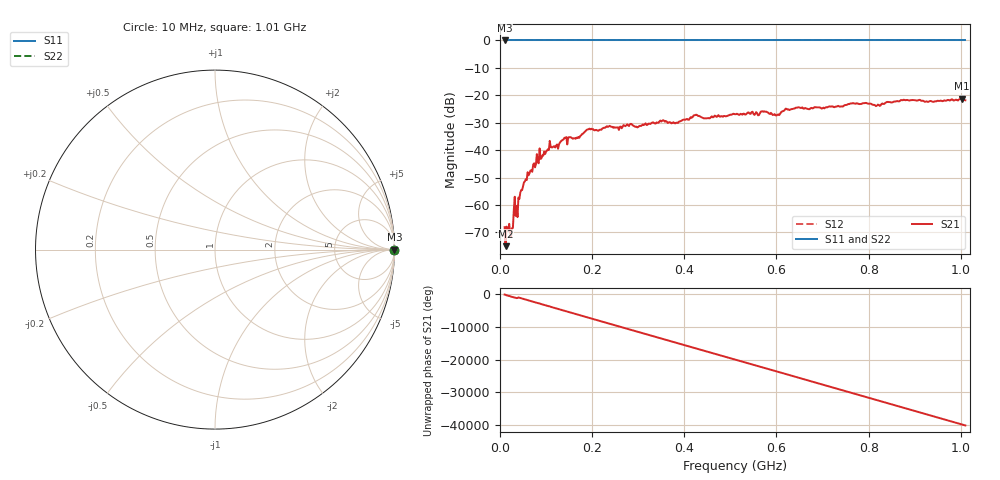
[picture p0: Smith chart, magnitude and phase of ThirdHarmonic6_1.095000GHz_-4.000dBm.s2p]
! 8/16/2025 10:13:31 AM
! C:\ANRITSUVNA\TEMP\TEMP.S2P
! CHANNEL.1
! TR.MEASUREMENT
! RAW.DATA
! RF.CORRECTION.OFF
! AVERAGING.OFF
! IF.BANDWIDTH: 5KHZ
! SWEEPTYPE:  FREQ.SWEEP(Linear)
! Reference Plane Port Info
! PORT:  PORT1  PORT2
! DISTANCE:  0  m  0  m
! TIME:  0  s  0  s
! PHASE.OFFSET:  0  deg.  0  deg.
! LOSS:  0  dB  0  dB
! REF.LOSS:  0  dB  0  dB
! REF.FREQ:  0  Hz  0  Hz
! Power Info
! POWER:  -20  dBm  -20  dBm
! EFF.POWER:  -20  dBm  -20  dBm
! SOURCE.ATTEN:  0  dB  0  dB
! TEST.ATTEN:  0  dB  0  dB
# GHZ S RI R 50.0
! FREQ.GHZ  S11RE  S11IM  S21RE  S21IM  S12RE  S12IM  S22RE  S22IM
!; PortSelection: Port_12
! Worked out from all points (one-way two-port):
!   501 points, 10 MHz to 1.01 GHz, reference 50 ohm
!   highest |S21| = -21.27 dB at 1.002 GHz (marker M1); lowest = -75.0 dB at 12 MHz (marker M2)
!   lowest |S11| = 0.0 dB at 10 MHz (marker M3)
!   |S11| at or under -10 dB: nowhere
!   |S22| runs from 0.0 to 0.0 dB; largest |S21 - S12| = 1.1
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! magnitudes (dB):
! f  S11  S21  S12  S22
! 10 MHz  0.0  -68.1  0.0  0.0
! 12 MHz  0.0  -75.0  0.0  0.0
! 24 MHz  0.0  -71.6  0.0  0.0
! 32 MHz  0.0  -57.0  0.0  0.0
! 38 MHz  0.0  -64.4  0.0  0.0
! 48 MHz  0.0  -54.6  0.0  0.0
! 82 MHz  0.0  -44.4  0.0  0.0
! 140 MHz  0.0  -35.5  0.0  0.0
! 178 MHz  0.0  -34.2  0.0  0.0
! 194 MHz  0.0  -32.2  0.0  0.0
! 344 MHz  0.0  -30.0  0.0  0.0
! 382 MHz  0.0  -30.0  0.0  0.0
! 424 MHz  0.0  -27.2  0.0  0.0
! 450 MHz  0.0  -28.3  0.0  0.0
! 510 MHz  0.0  -26.9  0.0  0.0
! 572 MHz  0.0  -26.0  0.0  0.0
! 602 MHz  0.0  -27.1  0.0  0.0
! 622 MHz  0.0  -25.0  0.0  0.0
! 678 MHz  0.0  -24.8  0.0  0.0
! 844 MHz  0.0  -22.5  0.0  0.0
! 1.002 GHz  0.0  -21.3  0.0  0.0
! 1.01 GHz  0.0  -21.8  0.0  0.0
